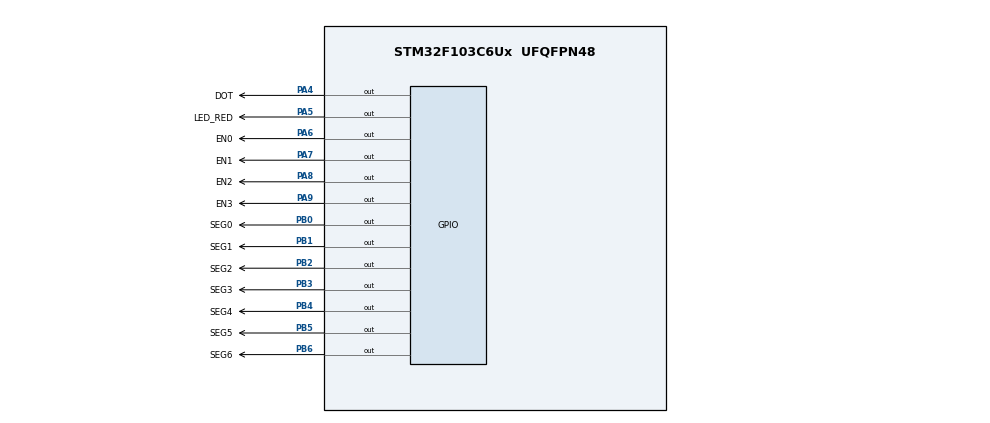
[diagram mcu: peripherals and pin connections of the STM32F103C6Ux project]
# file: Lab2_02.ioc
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Mcu.Family=STM32F1
Mcu.Name=STM32F103C6Ux
Mcu.Package=UFQFPN48
NVIC.PriorityGroup=NVIC_PRIORITYGROUP_4
NVIC.TIM2_IRQn=true\:0\:0\:false\:false\:true\:true\:true
PA4.GPIO_Label=DOT
PA4.Signal=GPIO_Output
PA5.GPIO_Label=LED_RED
PA5.Signal=GPIO_Output
PA6.GPIO_Label=EN0
PA6.Signal=GPIO_Output
PA7.GPIO_Label=EN1
PA7.Signal=GPIO_Output
PA8.GPIO_Label=EN2
PA8.Signal=GPIO_Output
PA9.GPIO_Label=EN3
PA9.Signal=GPIO_Output
PB0.GPIO_Label=SEG0
PB0.Signal=GPIO_Output
PB1.GPIO_Label=SEG1
PB1.Signal=GPIO_Output
PB2.GPIO_Label=SEG2
PB2.Signal=GPIO_Output
PB3.GPIO_Label=SEG3
PB3.Signal=GPIO_Output
PB4.GPIO_Label=SEG4
PB4.Signal=GPIO_Output
PB5.GPIO_Label=SEG5
PB5.Signal=GPIO_Output
PB6.GPIO_Label=SEG6
PB6.Signal=GPIO_Output
ProjectManager.HeapSize=0x200
ProjectManager.StackSize=0x400
ProjectManager.TargetToolchain=STM32CubeIDE
RCC.APB1Freq_Value=8000000
RCC.APB2Freq_Value=8000000
TIM2.Period=9
TIM2.Prescaler=7999
VP_SYS_VS_ND.Mode=No_Debug
VP_TIM2_VS_ClockSourceINT.Mode=Internal
board=custom

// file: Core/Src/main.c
/* USER CODE BEGIN Header */
/**
  ******************************************************************************
  * @file           : main.c
  * @brief          : Main program body
  ******************************************************************************
  * @attention
  *
  * <h2><center>&copy; Copyright (c) 2022 STMicroelectronics.
  * All rights reserved.</center></h2>
  *
  * This software component is licensed by ST under BSD 3-Clause license,
  * the "License"; You may not use this file except in compliance with the
  * License. You may obtain a copy of the License at:
  *                        opensource.org/licenses/BSD-3-Clause
  *
  ******************************************************************************
  */
/* USER CODE END Header */
#include "main.h"

#define setDot 100
#define setLed 50
#define setSeg 50
TIM_HandleTypeDef htim2;

void SystemClock_Config(void);
static void MX_TIM2_Init(void);
static void MX_GPIO_Init(void);
/* USER CODE BEGIN PFP */
void HAL_TIM_PeriodElapsedCallback(TIM_HandleTypeDef *htim);
/* USER CODE END PFP */

int main(void)
{

  /* MCU Configuration--------------------------------------------------------*/

  /* Reset of all peripherals, Initializes the Flash interface and the Systick. */
  HAL_Init();

  /* Configure the system clock */
  SystemClock_Config();

  /* Initialize all configured peripherals */
  MX_TIM2_Init();
  MX_GPIO_Init();
  /* USER CODE BEGIN 2 */
  HAL_TIM_Base_Start_IT (& htim2 );
  /* USER CODE END 2 */

  /* Infinite loop */
  while (1)
  {

  }
}

void SystemClock_Config(void)
{
  RCC_OscInitTypeDef RCC_OscInitStruct = {0};
  RCC_ClkInitTypeDef RCC_ClkInitStruct = {0};

  /** Initializes the RCC Oscillators according to the specified parameters
  * in the RCC_OscInitTypeDef structure.
  */
  RCC_OscInitStruct.OscillatorType = RCC_OSCILLATORTYPE_HSI;
  RCC_OscInitStruct.HSIState = RCC_HSI_ON;
  RCC_OscInitStruct.HSICalibrationValue = RCC_HSICALIBRATION_DEFAULT;
  RCC_OscInitStruct.PLL.PLLState = RCC_PLL_NONE;
  if (HAL_RCC_OscConfig(&RCC_OscInitStruct) != HAL_OK)
  {
    Error_Handler();
  }
  /** Initializes the CPU, AHB and APB buses clocks
  */
  RCC_ClkInitStruct.ClockType = RCC_CLOCKTYPE_HCLK|RCC_CLOCKTYPE_SYSCLK
                              |RCC_CLOCKTYPE_PCLK1|RCC_CLOCKTYPE_PCLK2;
  RCC_ClkInitStruct.SYSCLKSource = RCC_SYSCLKSOURCE_HSI;
  RCC_ClkInitStruct.AHBCLKDivider = RCC_SYSCLK_DIV1;
  RCC_ClkInitStruct.APB1CLKDivider = RCC_HCLK_DIV1;
  RCC_ClkInitStruct.APB2CLKDivider = RCC_HCLK_DIV1;

  if (HAL_RCC_ClockConfig(&RCC_ClkInitStruct, FLASH_LATENCY_0) != HAL_OK)
  {
    Error_Handler();
  }
}

static void MX_TIM2_Init(void)
{

  TIM_ClockConfigTypeDef sClockSourceConfig = {0};
  TIM_MasterConfigTypeDef sMasterConfig = {0};

  htim2.Instance = TIM2;
  htim2.Init.Prescaler = 7999;
  htim2.Init.CounterMode = TIM_COUNTERMODE_UP;
  htim2.Init.Period = 9;
  htim2.Init.ClockDivision = TIM_CLOCKDIVISION_DIV1;
  htim2.Init.AutoReloadPreload = TIM_AUTORELOAD_PRELOAD_DISABLE;
  if (HAL_TIM_Base_Init(&htim2) != HAL_OK)
  {
    Error_Handler();
  }
  sClockSourceConfig.ClockSource = TIM_CLOCKSOURCE_INTERNAL;
  if (HAL_TIM_ConfigClockSource(&htim2, &sClockSourceConfig) != HAL_OK)
  {
    Error_Handler();
  }
  sMasterConfig.MasterOutputTrigger = TIM_TRGO_RESET;
  sMasterConfig.MasterSlaveMode = TIM_MASTERSLAVEMODE_DISABLE;
  if (HAL_TIMEx_MasterConfigSynchronization(&htim2, &sMasterConfig) != HAL_OK)
  {
    Error_Handler();
  }

}

static void MX_GPIO_Init(void)
{
  GPIO_InitTypeDef GPIO_InitStruct = {0};

  /* GPIO Ports Clock Enable */
  __HAL_RCC_GPIOA_CLK_ENABLE();
  __HAL_RCC_GPIOB_CLK_ENABLE();

  /*Configure GPIO pin Output Level */
  HAL_GPIO_WritePin(GPIOA, DOT_Pin|LED_RED_Pin|EN0_Pin|EN1_Pin
                          |EN2_Pin|EN3_Pin, GPIO_PIN_RESET);

  /*Configure GPIO pin Output Level */
  HAL_GPIO_WritePin(GPIOB, SEG0_Pin|SEG1_Pin|SEG2_Pin|SEG3_Pin
                          |SEG4_Pin|SEG5_Pin|SEG6_Pin, GPIO_PIN_RESET);

  /*Configure GPIO pins : DOT_Pin LED_RED_Pin EN0_Pin EN1_Pin
                           EN2_Pin EN3_Pin */
  GPIO_InitStruct.Pin = DOT_Pin|LED_RED_Pin|EN0_Pin|EN1_Pin
                          |EN2_Pin|EN3_Pin;
  GPIO_InitStruct.Mode = GPIO_MODE_OUTPUT_PP;
  GPIO_InitStruct.Pull = GPIO_NOPULL;
  GPIO_InitStruct.Speed = GPIO_SPEED_FREQ_LOW;
  HAL_GPIO_Init(GPIOA, &GPIO_InitStruct);

  /*Configure GPIO pins : SEG0_Pin SEG1_Pin SEG2_Pin SEG3_Pin
                           SEG4_Pin SEG5_Pin SEG6_Pin */
  GPIO_InitStruct.Pin = SEG0_Pin|SEG1_Pin|SEG2_Pin|SEG3_Pin
                          |SEG4_Pin|SEG5_Pin|SEG6_Pin;
  GPIO_InitStruct.Mode = GPIO_MODE_OUTPUT_PP;
  GPIO_InitStruct.Pull = GPIO_NOPULL;
  GPIO_InitStruct.Speed = GPIO_SPEED_FREQ_LOW;
  HAL_GPIO_Init(GPIOB, &GPIO_InitStruct);

}

/* USER CODE BEGIN 4 */
int countDot=100;
int countLed=50;
int countSeg=50;
int status=1;
unsigned char segmentNumber[10]={
		0x40,
		0x79,
		0x24,
		0x30,
		0x19,
		0x12,
		0x02,
		0x78,
		0x00,
		0x10
};
void display7SEG(int counter){
	unsigned char num = segmentNumber[counter];
	HAL_GPIO_WritePin(SEG0_GPIO_Port, SEG0_Pin, ((num>>0)&0x01));
	HAL_GPIO_WritePin(SEG1_GPIO_Port, SEG1_Pin, ((num>>1)&0x01));
	HAL_GPIO_WritePin(SEG2_GPIO_Port, SEG2_Pin, ((num>>2)&0x01));
	HAL_GPIO_WritePin(SEG3_GPIO_Port, SEG3_Pin, ((num>>3)&0x01));
	HAL_GPIO_WritePin(SEG4_GPIO_Port, SEG4_Pin, ((num>>4)&0x01));
	HAL_GPIO_WritePin(SEG5_GPIO_Port, SEG5_Pin, ((num>>5)&0x01));
	HAL_GPIO_WritePin(SEG6_GPIO_Port, SEG6_Pin, ((num>>6)&0x01));
}
void displayEN(int num){
	switch (num){
			case 1:
				HAL_GPIO_WritePin(EN0_GPIO_Port, EN0_Pin, RESET);
				HAL_GPIO_WritePin(EN1_GPIO_Port, EN1_Pin, SET);
				HAL_GPIO_WritePin(EN2_GPIO_Port, EN2_Pin, SET);
				HAL_GPIO_WritePin(EN3_GPIO_Port, EN3_Pin, SET);
				display7SEG(1);
				status = 2;
				break;
			case 2:
				HAL_GPIO_WritePin(EN0_GPIO_Port, EN0_Pin, SET);
				HAL_GPIO_WritePin(EN1_GPIO_Port, EN1_Pin, RESET);
				HAL_GPIO_WritePin(EN2_GPIO_Port, EN2_Pin, SET);
				HAL_GPIO_WritePin(EN3_GPIO_Port, EN3_Pin, SET);
				display7SEG(2);
				status = 3;
				break;
			case 3:
				HAL_GPIO_WritePin(EN0_GPIO_Port, EN0_Pin, SET);
				HAL_GPIO_WritePin(EN1_GPIO_Port, EN1_Pin, SET);
				HAL_GPIO_WritePin(EN2_GPIO_Port, EN2_Pin, RESET);
				HAL_GPIO_WritePin(EN3_GPIO_Port, EN3_Pin, SET);
				display7SEG(3);
				status = 4;
				break;
			case 4:
				HAL_GPIO_WritePin(EN0_GPIO_Port, EN0_Pin, SET);
				HAL_GPIO_WritePin(EN1_GPIO_Port, EN1_Pin, SET);
				HAL_GPIO_WritePin(EN2_GPIO_Port, EN2_Pin, SET);
				HAL_GPIO_WritePin(EN3_GPIO_Port, EN3_Pin, RESET);
				display7SEG(0);
				status = 1;
				break;
			default:
				break;
		}
}
void timerRun(){
	countDot--; // 1s nhap nhay DOT
	countLed--; // 0.5s nhap nhay led red
	countSeg--; //0.5s seg
	if(countDot<=0){
		countDot=setDot;  // sau 1s thi set
		HAL_GPIO_TogglePin(DOT_GPIO_Port, DOT_Pin);

	}
	if(countLed<=0){
		countLed=setLed;
		HAL_GPIO_TogglePin(LED_RED_GPIO_Port, LED_RED_Pin);
	}
	if(countSeg<=0){
		countSeg=setSeg;
		displayEN(status);
	}
}

void HAL_TIM_PeriodElapsedCallback(TIM_HandleTypeDef *htim){
	timerRun();
}
/* USER CODE END 4 */

void Error_Handler(void)
{
  __disable_irq();
  while (1)
  {
  }
}

/************************ (C) COPYRIGHT STMicroelectronics *****END OF FILE****/
